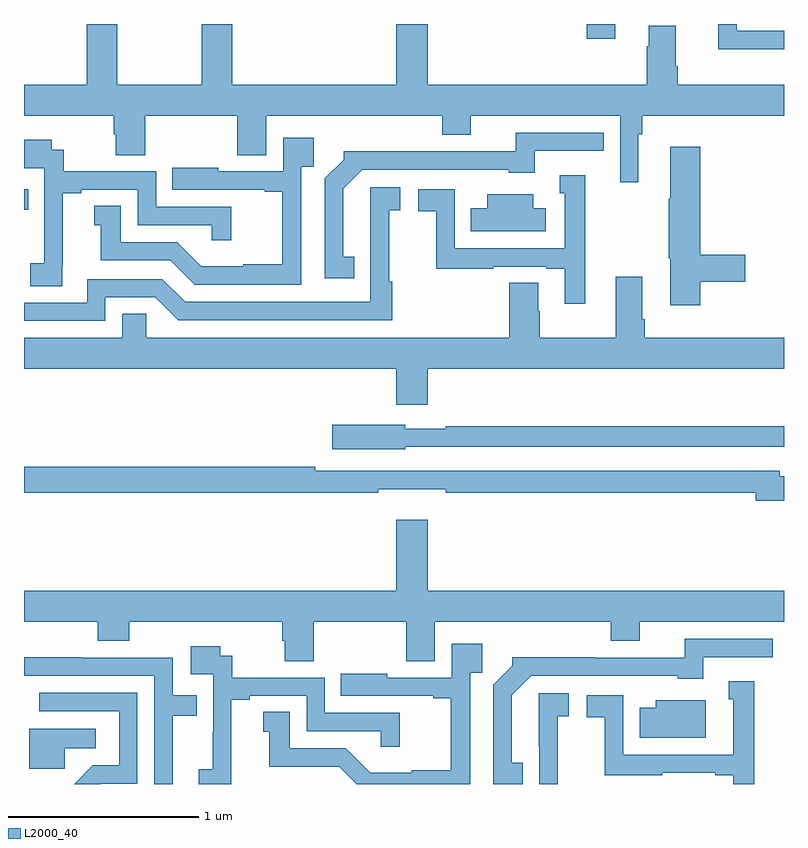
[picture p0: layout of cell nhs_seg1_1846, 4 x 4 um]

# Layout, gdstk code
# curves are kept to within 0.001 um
import gdstk
lib = gdstk.Library(unit=1e-6, precision=1e-09)
def R(c, l, rs):  # rectangles x0, y0, x1, y1
    for r in rs: c.add(gdstk.rectangle(r[:2], r[2:], *l))
def P(c, l, *ps):  # polygons
    for p in ps: c.add(gdstk.Polygon(p, *l))
L2000_40 = (2000, 40)

nhs_seg1_1846 = lib.new_cell('nhs_seg1_1846')
R(nhs_seg1_1846, L2000_40, [(211,567.222,211.022,567.33), (213.963,568.122,214.111,568.199)])
P(nhs_seg1_1846, L2000_40, [(214.234,567.62),(214.253,567.62),(214.253,567.716),(215,567.716),(215,567.88),(214.442,567.88),(214.442,567.976),(214.429,567.976),(214.429,568.189),(214.289,568.189),(214.289,568.082),(214.277,568.082),(214.277,567.88),(213.124,567.88),(213.124,568.199),(212.96,568.199),(212.96,567.88),(212.096,567.88),(212.096,568.199),(211.936,568.199),(211.936,567.88),(211.491,567.88),(211.491,568.199),(211.331,568.199),(211.331,567.88),(211,567.88),(211,567.716),(211.472,567.716),(211.472,567.618),(211.484,567.618),(211.484,567.508),(211.637,567.508),(211.637,567.716),(212.123,567.716),(212.123,567.508),(212.275,567.508),(212.275,567.716),(213.2,567.716),(213.2,567.617),(213.352,567.617),(213.352,567.716),(214.137,567.716),(214.137,567.366),(214.234,567.366)],
  [(215,568.164),(214.752,568.164),(214.752,568.199),(214.654,568.199),(214.654,568.067),(215,568.067)],
  [(212.738,566.975),(212.68,566.975),(212.68,567.331),(212.781,567.432),(213.552,567.432),(213.552,567.416),(213.688,567.416),(213.688,567.531),(214.052,567.531),(214.052,567.627),(213.589,567.627),(213.589,567.528),(213.116,567.528),(213.116,567.53),(212.682,567.53),(212.682,567.485),(212.583,567.386),(212.583,566.862),(212.738,566.862)],
  [(212.46,567.449),(212.525,567.449),(212.525,567.601),(212.364,567.601),(212.364,567.423),(212.023,567.423),(212.023,567.442),(211.78,567.442),(211.78,567.327),(212.267,567.327),(212.267,567.315),(212.359,567.315),(212.359,566.935),(212.153,566.935),(212.153,566.923),(211.934,566.923),(211.806,567.051),(211.51,567.051),(211.51,567.242),(211.37,567.242),(211.37,567.139),(211.403,567.139),(211.403,566.955),(211.77,566.955),(211.899,566.826),(212.46,566.826)],
  [(211.202,566.929),(211.204,566.929),(211.204,567.307),(211.3,567.307),(211.3,567.327),(211.599,567.327),(211.599,567.141),(211.989,567.141),(211.989,567.06),(212.09,567.06),(212.09,567.237),(211.695,567.237),(211.695,567.423),(211.208,567.423),(211.208,567.537),(211.146,567.537),(211.146,567.589),(211,567.589),(211,567.441),(211.107,567.441),(211.107,567.137),(211.106,567.137),(211.106,566.94),(211.032,566.94),(211.032,566.818),(211.202,566.818)],
  [(214.559,566.842),(214.795,566.842),(214.795,566.984),(214.559,566.984),(214.559,567.553),(214.4,567.553),(214.4,567.278),(214.393,567.278),(214.393,566.967),(214.4,566.967),(214.4,566.718),(214.559,566.718)],
  [(213.955,567.403),(213.821,567.403),(213.821,567.309),(213.846,567.309),(213.846,567.018),(213.267,567.018),(213.267,567.33),(213.075,567.33),(213.075,567.214),(213.169,567.214),(213.169,566.91),(213.47,566.91),(213.47,566.922),(213.749,566.922),(213.749,566.91),(213.845,566.91),(213.845,566.727),(213.955,566.727)],
  [(211.428,566.76),(211.692,566.76),(211.812,566.64),(212.939,566.64),(212.939,566.843),(212.922,566.843),(212.922,567.219),(212.98,567.219),(212.98,567.34),(212.822,567.34),(212.823,566.736),(211.848,566.736),(211.728,566.856),(211.332,566.856),(211.332,566.733),(211,566.733),(211,566.637),(211.428,566.637)],
  [(213.745,567.229),(213.679,567.229),(213.679,567.304),(213.437,567.304),(213.437,567.229),(213.352,567.229),(213.352,567.107),(213.745,567.107)],
  [(213.124,566.384),(215,566.384),(215,566.548),(214.268,566.548),(214.268,566.644),(214.255,566.644),(214.255,566.869),(214.115,566.869),(214.115,566.548),(213.714,566.548),(213.714,566.687),(213.706,566.687),(213.706,566.837),(213.554,566.837),(213.554,566.548),(211.644,566.548),(211.644,566.675),(211.517,566.675),(211.517,566.548),(211,566.548),(211,566.384),(212.96,566.384),(212.96,566.196),(213.124,566.196)],
  [(213.006,565.974),(215,565.974),(215,566.083),(213.22,566.083),(213.22,566.07),(213.006,566.07),(213.006,566.091),(212.622,566.091),(212.622,565.961),(213.006,565.961)],
  [(215,565.819),(214.978,565.819),(214.978,565.848),(212.534,565.848),(212.534,565.868),(211,565.868),(211,565.732),(212.864,565.732),(212.864,565.751),(213.22,565.751),(213.22,565.732),(214.85,565.732),(214.85,565.69),(215,565.69)],
  [(212.525,565.052),(213.011,565.052),(213.011,564.844),(213.163,564.844),(213.163,565.052),(214.088,565.052),(214.088,564.953),(214.24,564.953),(214.24,565.052),(215,565.052),(215,565.216),(213.124,565.216),(213.124,565.591),(212.96,565.591),(212.96,565.216),(211,565.216),(211,565.052),(211.388,565.052),(211.388,564.953),(211.553,564.953),(211.553,565.052),(212.36,565.052),(212.36,564.954),(212.372,564.954),(212.372,564.844),(212.525,564.844)],
  [(213.626,564.311),(213.568,564.311),(213.568,564.667),(213.669,564.768),(214.44,564.768),(214.44,564.752),(214.576,564.752),(214.576,564.867),(214.94,564.867),(214.94,564.963),(214.477,564.963),(214.477,564.864),(214.004,564.864),(214.004,564.866),(213.57,564.866),(213.57,564.821),(213.471,564.722),(213.471,564.199),(213.626,564.199)],
  [(213.348,564.785),(213.413,564.785),(213.413,564.937),(213.252,564.937),(213.252,564.759),(212.911,564.759),(212.911,564.778),(212.668,564.778),(212.668,564.663),(213.155,564.663),(213.155,564.651),(213.247,564.651),(213.247,564.271),(213.041,564.271),(213.041,564.259),(212.822,564.259),(212.694,564.387),(212.398,564.387),(212.398,564.578),(212.258,564.578),(212.258,564.475),(212.291,564.475),(212.291,564.291),(212.658,564.291),(212.75,564.199),(213.348,564.199)],
  [(212.09,564.265),(212.092,564.265),(212.092,564.643),(212.188,564.643),(212.188,564.663),(212.487,564.663),(212.487,564.477),(212.877,564.477),(212.877,564.396),(212.978,564.396),(212.978,564.573),(212.583,564.573),(212.583,564.759),(212.096,564.759),(212.096,564.873),(212.034,564.873),(212.034,564.925),(211.878,564.925),(211.878,564.777),(211.995,564.777),(211.995,564.473),(211.994,564.473),(211.994,564.276),(211.92,564.276),(211.92,564.199),(212.09,564.199)],
  [(211.783,564.558),(211.91,564.558),(211.91,564.666),(211.782,564.666),(211.782,564.864),(211.304,564.864),(211.304,564.866),(211,564.866),(211,564.768),(211.686,564.768),(211.686,564.199),(211.783,564.199)],
  [(214.843,564.739),(214.709,564.739),(214.709,564.645),(214.733,564.645),(214.733,564.354),(214.155,564.354),(214.155,564.666),(213.963,564.666),(213.963,564.55),(214.057,564.55),(214.057,564.246),(214.358,564.246),(214.358,564.258),(214.637,564.258),(214.637,564.246),(214.733,564.246),(214.733,564.199),(214.843,564.199)],
  [(211.407,564.201),(211.596,564.201),(211.596,564.678),(211.08,564.678),(211.08,564.582),(211.5,564.582),(211.5,564.297),(211.362,564.297),(211.264,564.199),(211.405,564.199)],
  [(213.81,564.555),(213.868,564.555),(213.868,564.676),(213.71,564.676),(213.71,564.4),(213.711,564.4),(213.711,564.199),(213.81,564.199)],
  [(214.588,564.64),(214.325,564.64),(214.325,564.601),(214.24,564.601),(214.24,564.443),(214.588,564.443)],
  [(211.215,564.386),(211.378,564.386),(211.378,564.49),(211.028,564.49),(211.028,564.279),(211.215,564.279)])

lib.write_gds('nhs_seg1_1846.gds')
